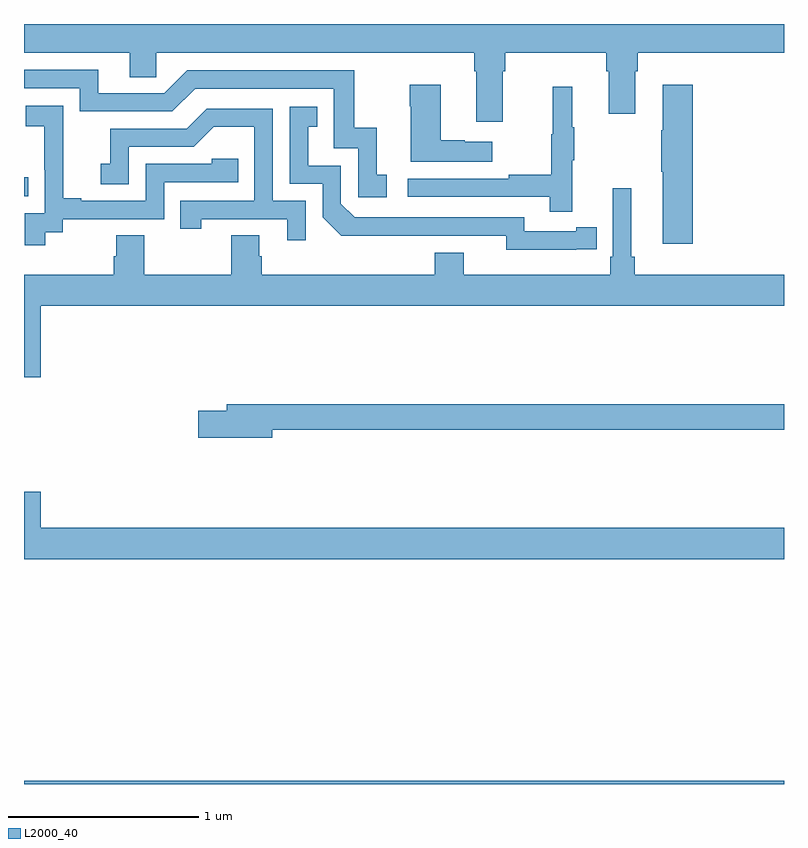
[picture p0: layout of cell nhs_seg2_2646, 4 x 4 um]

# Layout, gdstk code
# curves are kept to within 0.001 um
import gdstk
lib = gdstk.Library(unit=1e-6, precision=1e-09)
def R(c, l, rs):  # rectangles x0, y0, x1, y1
    for r in rs: c.add(gdstk.rectangle(r[:2], r[2:], *l))
def P(c, l, *ps):  # polygons
    for p in ps: c.add(gdstk.Polygon(p, *l))
L2000_40 = (2000, 40)

nhs_seg2_2646 = lib.new_cell('nhs_seg2_2646')
R(nhs_seg2_2646, L2000_40, [(249,631.8,253,631.816), (249,634.893,249.023,634.994)])
P(nhs_seg2_2646, L2000_40, [(251.521,635.552),(251.534,635.552),(251.534,635.648),(252.065,635.648),(252.065,635.552),(252.077,635.552),(252.077,635.328),(252.217,635.328),(252.217,635.552),(252.23,635.552),(252.23,635.648),(253,635.648),(253,635.8),(249,635.8),(249,635.648),(249.557,635.648),(249.557,635.521),(249.696,635.521),(249.696,635.648),(251.369,635.648),(251.369,635.552),(251.381,635.552),(251.381,635.286),(251.521,635.286)],
  [(250.909,635.007),(250.856,635.007),(250.856,635.254),(250.738,635.254),(250.738,635.556),(249.858,635.556),(249.738,635.436),(249.391,635.436),(249.391,635.559),(249,635.559),(249,635.463),(249.294,635.463),(249.294,635.34),(249.78,635.34),(249.9,635.46),(250.629,635.46),(250.629,635.145),(250.758,635.145),(250.758,634.887),(250.909,634.887)],
  [(252.521,635.479),(252.362,635.479),(252.362,635.24),(252.355,635.24),(252.355,635.023),(252.362,635.023),(252.362,634.644),(252.521,634.644)],
  [(251.464,635.179),(251.321,635.179),(251.321,635.189),(251.194,635.189),(251.194,635.479),(251.029,635.479),(251.029,635.366),(251.036,635.366),(251.036,635.075),(251.464,635.075)],
  [(251.885,635.083),(251.896,635.083),(251.896,635.257),(251.885,635.257),(251.885,635.47),(251.782,635.47),(251.782,635.22),(251.775,635.22),(251.775,635.006),(251.551,635.006),(251.551,634.986),(251.019,634.986),(251.019,634.89),(251.767,634.89),(251.767,634.812),(251.885,634.812)],
  [(249.112,634.705),(249.204,634.705),(249.204,634.773),(249.738,634.773),(249.738,634.968),(250.127,634.968),(250.127,635.091),(249.987,635.091),(249.987,635.064),(249.642,635.064),(249.642,634.869),(249.301,634.869),(249.301,634.882),(249.206,634.882),(249.206,635.165),(249.207,635.165),(249.207,635.371),(249.009,635.371),(249.009,635.261),(249.107,635.261),(249.107,635.033),(249.108,635.033),(249.108,634.803),(249.003,634.803),(249.003,634.635),(249.112,634.635)],
  [(251.906,634.614),(252.014,634.614),(252.014,634.73),(251.906,634.73),(251.906,634.71),(251.634,634.71),(251.634,634.782),(250.74,634.782),(250.668,634.854),(250.668,635.055),(250.495,635.055),(250.495,635.259),(250.544,635.259),(250.544,635.365),(250.398,635.365),(250.398,634.959),(250.572,634.959),(250.572,634.782),(250.67,634.685),(251.538,634.686),(251.538,634.613)],
  [(250.482,634.869),(250.308,634.869),(250.308,635.355),(249.962,635.355),(249.857,635.25),(249.454,635.25),(249.454,635.065),(249.405,635.065),(249.405,634.956),(249.552,634.956),(249.552,635.154),(249.894,635.154),(249.998,635.258),(250.212,635.258),(250.212,634.869),(249.823,634.869),(249.823,634.722),(249.934,634.722),(249.934,634.773),(250.385,634.773),(250.385,634.662),(250.482,634.662)],
  [(249.088,634.316),(253,634.316),(253,634.48),(252.215,634.48),(252.215,634.576),(252.196,634.576),(252.196,634.936),(252.099,634.936),(252.099,634.576),(252.086,634.576),(252.086,634.48),(251.314,634.48),(251.314,634.597),(251.162,634.597),(251.162,634.48),(250.25,634.48),(250.25,634.578),(250.237,634.578),(250.237,634.688),(250.09,634.688),(250.09,634.48),(249.633,634.48),(249.633,634.688),(249.485,634.688),(249.485,634.578),(249.473,634.578),(249.473,634.48),(249,634.48),(249,633.942),(249.088,633.942)],
  [(250.306,633.664),(253,633.664),(253,633.8),(250.067,633.8),(250.067,633.764),(249.918,633.764),(249.918,633.622),(250.306,633.622)],
  [(253,633.148),(249.088,633.148),(249.088,633.337),(249,633.337),(249,632.984),(253,632.984)])

lib.write_gds('nhs_seg2_2646.gds')
